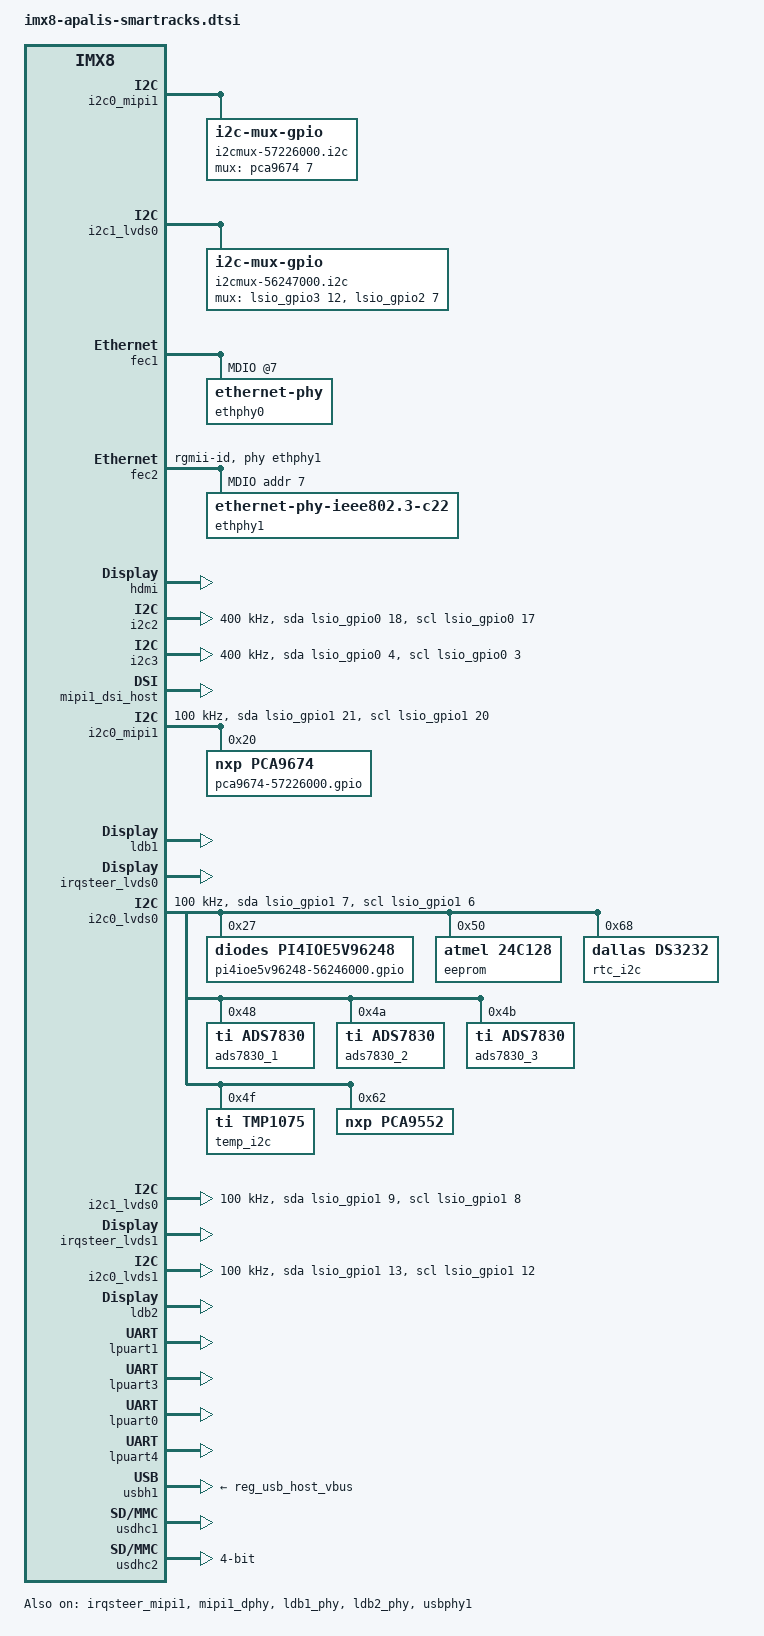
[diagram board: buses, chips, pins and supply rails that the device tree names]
#include <dt-bindings/pwm/pwm.h>
#include <dt-bindings/leds/leds-pca955x.h>

/ {
    aliases {
        rtc0 = &rtc_i2c;
        rtc1 = &rtc;
    };

    reg_usb_host_vbus: regulator-usb-host-vbus {
        regulator-name = "VCC USBH2(ABCD) / USBH(3|4)";
    };

    /* I2C Analog Mux attached to RCU's I2C3 */
    /* PEP I/O Expander IO7 (IOXPD2_IO0_7) occupied by mux driver */
    i2cmux-57226000.i2c {
        compatible = "i2c-mux-gpio";
        #address-cells = <1>;
        #size-cells = <0>;
        mux-gpios = <&pca9674 7 GPIO_ACTIVE_HIGH>;
        i2c-parent = <&i2c0_mipi1>;

        i2c@0 {
            reg = <0>;
            #address-cells = <1>;
            #size-cells = <0>;
        };
        i2c@1 {
            reg = <1>;
            #address-cells = <1>;
            #size-cells = <0>;
        };
    };

    /* I2C Analog Mux attached to RCU's I2C5 */
    /* MXM3 196 (lsio_gpio3 line 12) and MXM3 198 (lsio_gpio2 line 7) occupied by mux driver */
    i2cmux-56247000.i2c {
        compatible = "i2c-mux-gpio";
        #address-cells = <1>;
        #size-cells = <0>;
        mux-gpios = <&lsio_gpio3 12 GPIO_ACTIVE_HIGH &lsio_gpio2 7 GPIO_ACTIVE_HIGH>;
        i2c-parent = <&i2c1_lvds0>;

        i2c@0 {
            reg = <0>;
            #address-cells = <1>;
            #size-cells = <0>;
        };
        i2c@1 {
            reg = <1>;
            #address-cells = <1>;
            #size-cells = <0>;
        };
        i2c@2 {
            reg = <2>;
            #address-cells = <1>;
            #size-cells = <0>;
        };
        i2c@3 {
            reg = <3>;
            #address-cells = <1>;
            #size-cells = <0>;
        };
    };
};

/* Disable pcie switch to mux pin MXM3 15 for GPIO function. */
&reg_pcie_switch {
    status = "disabled";
};

/* Disable gpio fan to mux pin MXM3 17 for GPIO function. */
&gpio_fan {
    status = "disabled";
};

/* Apalis ADC signals */
/* Disable adc0 to mux pin MXM3 305 for GPIO function. */
&adc0 {
    status = "disabled";
};

/* Disable adc0 to mux pin MXM3 307 for GPIO function. */
&adc1 {
    status = "disabled";
};

/* Apalis audio system sub-node */
&asrc0 {
    status = "disabled";
};

/* Apalis First Gigabit Ethernet */
&fec1 {
    status = "okay";

    mdio {
        ethphy0: ethernet-phy@7 {
            /delete-property/ interrupt-parent;
            /delete-property/ interrupts;
            /delete-property/ reset-assert-us;
            /delete-property/ reset-deassert-us;
            /delete-property/ reset-gpios;
            /delete-property/ reset-names;
        };
    };
};

/* Apalis Second Gigabit Ethernet */
&fec2 {
    status = "okay";
    pinctrl-names = "default";
    pinctrl-0 = <&pinctrl_fec2>;
    fsl,magic-packet;
    fsl,mii-exclusive;
    phy-handle = <&ethphy1>;
    phy-mode = "rgmii-id";

    mdio {
        #address-cells = <1>;
        #size-cells = <0>;

        ethphy1: ethernet-phy@7 {
            compatible = "ethernet-phy-ieee802.3-c22";
            micrel,led-mode = <0>;
            reg = <7>;
            max-speed = <100>;
        };
    };
};

/* Apalis CAN1 */
&flexcan1 {
    status = "disabled";
};

/* Apalis CAN2 */
&flexcan2 {
    status = "disabled";
};

/* Apalis CAN3 (optional) */
&flexcan3 {
    status = "disabled";
};

/* Apalis HDMI1 */
&hdmi {
    status = "okay";
};

/* RCU's I2C1 */
&i2c2 {
    status = "okay";
    pinctrl-names = "default", "gpio";
    pinctrl-1 = <&pinctrl_lpi2c2_gpio>;
    scl-gpios = <&lsio_gpio0 17 GPIO_ACTIVE_HIGH>;
    sda-gpios = <&lsio_gpio0 18 GPIO_ACTIVE_HIGH>;
    clock-frequency = <400000>;
};

/* RCU's I2C2 */
&i2c3 {
    status = "okay";
    pinctrl-names = "default", "gpio";
    pinctrl-1 = <&pinctrl_lpi2c3_gpio>;
    scl-gpios = <&lsio_gpio0 3 GPIO_ACTIVE_HIGH>;
    sda-gpios = <&lsio_gpio0 4 GPIO_ACTIVE_HIGH>;
    clock-frequency = <400000>;
};

/* Parent node to enable i2c0_mipi1 */
&irqsteer_mipi1 {
    status = "okay";
};

/* Parent node to enable i2c0_mipi1 */
&mipi1_dphy {
    status = "okay";
};

/* Parent node to enable i2c0_mipi1 */
&mipi1_dsi_host {
    status = "okay";
};

/* RCU's I2C3 */
&i2c0_mipi1 {
    status = "okay";
    pinctrl-names = "default", "gpio";
    pinctrl-0 = <&pinctrl_i2c0_mipi1>;
    pinctrl-1 = <&pinctrl_i2c0_mipi1_gpio>;
    scl-gpios = <&lsio_gpio1 20 GPIO_ACTIVE_HIGH>;
    sda-gpios = <&lsio_gpio1 21 GPIO_ACTIVE_HIGH>;
    #address-cells = <1>;
    #size-cells = <0>;
    clock-frequency = <100000>;

    /* PCA9674 8-bit IO expander on I2C3 */
    pca9674: gpio@20 {
        compatible = "nxp,pca9674";
        reg = <0x20>;
        gpio-controller;
        #gpio-cells = <2>;
        label = "pca9674-57226000.gpio";
        /* IO0 and IO1 has to be output high by default */
        lines-initial-states = <0x00>;
        gpio-line-names =
            "IOXPD2_IO0_0", "IOXPD2_IO0_1", "IOXPD2_IO0_2", "IOXPD2_IO0_3", "IOXPD2_IO0_4", "IOXPD2_IO0_5", "IOXPD2_IO0_6", "IOXPD2_IO0_7";
    };
};

/* Parent node to enable i2c0_lvds0 & i2c1_lvds0 */
&ldb1_phy {
    status = "okay";
};

/* Parent node to enable i2c0_lvds0 & i2c1_lvds0 */
&ldb1 {
    status = "okay";
};

/* Parent node to enable i2c0_lvds0 & i2c1_lvds0 */
&irqsteer_lvds0 {
    status = "okay";
};

/* RCU's I2C4 */
&i2c0_lvds0 {
    status = "okay";
    pinctrl-names = "default", "gpio";
    pinctrl-0 = <&pinctrl_i2c0_lvds0>;
    pinctrl-1 = <&pinctrl_i2c0_lvds0_gpio>;
    scl-gpios = <&lsio_gpio1 6 GPIO_ACTIVE_HIGH>;
    sda-gpios = <&lsio_gpio1 7 GPIO_ACTIVE_HIGH>;
    #address-cells = <1>;
    #size-cells = <0>;
    clock-frequency = <100000>;

    /* 48-bit IO expander */
    pi4ioe5v: pi4ioe5v@27 {
        compatible = "diodes,pi4ioe5v96248";
        reg = <0x27>;
        gpio-controller;
        #gpio-cells = <2>;
        npgio=<48>;
        label = "pi4ioe5v96248-56246000.gpio";

        /* NOTE: lines-initial-states acts as a bitmask, i.e.                                                                              */
        /* For a pin to be configured as output, the bit within the bitmask should be set to 1.                                            */
        /* Likewise, for a pin to be configured as input or output high, the bit within the bitmask should be set to 0.                    */
        /* IO0_0 is LSB (bit at rightmost corner), and as we move left from LSB, we approach IO5_7 at the 48th bit.                        */
        /* Everything between the 48th bit to MSB (bit at leftmost corner) does not represent anything (since IO expander is 48 bit only). */
        
        /* This property holds two consecutive 32-bit value to represent a 64-bit value. */
        /* In binary, the hex value 0x00000000 00006000 is written as:                   */
        /* 00000000 00000000 00000000 00000000 00000000 00000000 00110000 00000000       */
        /* where bit 1s target IO1_4 and IO1_5 to set them as default output LOW         */
        lines-initial-states = <0x00000000 0x00003000>;
        
        gpio-line-names =
            "IOXPD1_IO0_0", "IOXPD1_IO0_1", "IOXPD1_IO0_2", "IOXPD1_IO0_3", "IOXPD1_IO0_4", "IOXPD1_IO0_5", "IOXPD1_IO0_6", "IOXPD1_IO0_7",
            "IOXPD1_IO1_0", "IOXPD1_IO1_1", "IOXPD1_IO1_2", "IOXPD1_IO1_3", "IOXPD1_IO1_4", "IOXPD1_IO1_5", "IOXPD1_IO1_6", "IOXPD1_IO1_7",
            "IOXPD1_IO2_0", "IOXPD1_IO2_1", "IOXPD1_IO2_2", "IOXPD1_IO2_3", "IOXPD1_IO2_4", "IOXPD1_IO2_5", "IOXPD1_IO2_6", "IOXPD1_IO2_7",
            "IOXPD1_IO3_0", "IOXPD1_IO3_1", "IOXPD1_IO3_2", "IOXPD1_IO3_3", "IOXPD1_IO3_4", "IOXPD1_IO3_5", "IOXPD1_IO3_6", "IOXPD1_IO3_7",
            "IOXPD1_IO4_0", "IOXPD1_IO4_1", "IOXPD1_IO4_2", "IOXPD1_IO4_3", "IOXPD1_IO4_4", "IOXPD1_IO4_5", "IOXPD1_IO4_6", "IOXPD1_IO4_7",
            "IOXPD1_IO5_0", "IOXPD1_IO5_1", "IOXPD1_IO5_2", "IOXPD1_IO5_3", "IOXPD1_IO5_4", "IOXPD1_IO5_5", "IOXPD1_IO5_6", "IOXPD1_IO5_7";
    };

    /* RCU carrier CAT24C128 EEPROM */
    eeprom: eeprom@50 { 
        compatible = "atmel,24c128"; 
        reg = <0x50>;
    }; 

    rtc_i2c: rtc@68 {
        compatible = "dallas,ds3232";
        reg = <0x68>;
    };
    
    /* Onboard ADC ADS7830 at 0x48 */
    ads7830_1: ads@48 {
        compatible = "ti,ads7830";
        reg = <0x48>;
    };

    /* Onboard ADC ADS7830 at 0x4a */
    ads7830_2: ads@4a {
        compatible = "ti,ads7830";
        reg = <0x4a>;
    };

    /* Onboard ADC ADS7830 at 0x4b */
    ads7830_3: ads@4b {
        compatible = "ti,ads7830";
        reg = <0x4b>;
    };

    /* Onboard Temperature Sensor TMP1075 */
    temp_i2c: temp@4F {
        compatible = "ti,tmp1075";
        reg = <0x4F>;
        status = "okay";
    };

    /* 16-bit LED driver */
    pca9552: pca9552@62 {
        compatible = "nxp,pca9552";
        #address-cells = <1>;
        #size-cells = <0>;
        reg = <0x62>;

        led@0 {
            reg = <0>;
            type = <PCA955X_TYPE_LED>;
        };
        led@1 {
            reg = <1>;
            type = <PCA955X_TYPE_LED>;
        };
        led@2 {
            reg = <2>;
            type = <PCA955X_TYPE_LED>;
        };
        led@3 {
            reg = <3>;
            type = <PCA955X_TYPE_LED>;
        };
        led@4 {
            reg = <4>;
            type = <PCA955X_TYPE_LED>;
        };
        led@5 {
            reg = <5>;
            type = <PCA955X_TYPE_LED>;
        };
        led@6 {
            reg = <6>;
            type = <PCA955X_TYPE_LED>;
        };
        led@7 {
            reg = <7>;
            type = <PCA955X_TYPE_LED>;
        };
        led@8 {
            reg = <8>;
            type = <PCA955X_TYPE_LED>;
        };
        led@9 {
            reg = <9>;
            type = <PCA955X_TYPE_LED>;
        };
        led@10 {
            reg = <10>;
            type = <PCA955X_TYPE_LED>;
        };
        led@11 {
            reg = <11>;
            type = <PCA955X_TYPE_LED>;
        };
        led@12 {
            reg = <12>;
            type = <PCA955X_TYPE_LED>;
        };
        led@13 {
            reg = <13>;
            type = <PCA955X_TYPE_LED>;
        };
        led@14 {
            reg = <14>;
            type = <PCA955X_TYPE_LED>;
        };
        led@15 {
            reg = <15>;
            type = <PCA955X_TYPE_LED>;
        };
    };
};

/* RCU's I2C5 */
&i2c1_lvds0 {
    status = "okay";
    pinctrl-names = "default", "gpio";
    pinctrl-0 = <&pinctrl_i2c1_lvds0>;
    pinctrl-1 = <&pinctrl_i2c1_lvds0_gpio>;
    scl-gpios = <&lsio_gpio1 8 GPIO_ACTIVE_HIGH>;
    sda-gpios = <&lsio_gpio1 9 GPIO_ACTIVE_HIGH>;
    #address-cells = <1>;
    #size-cells = <0>;
    clock-frequency = <100000>;
};

/* Parent node to enable i2c0_lvds1 */
&irqsteer_lvds1 {
    status = "okay";
};

/* RCU's I2C6 */
&i2c0_lvds1 {
    status = "okay";
    pinctrl-names = "default", "gpio";
    pinctrl-0 = <&pinctrl_i2c0_lvds1>;
    pinctrl-1 = <&pinctrl_i2c0_lvds1_gpio>;
    scl-gpios = <&lsio_gpio1 12 GPIO_ACTIVE_HIGH>;
    sda-gpios = <&lsio_gpio1 13 GPIO_ACTIVE_HIGH>;
    #address-cells = <1>;
    #size-cells = <0>;
    clock-frequency = <100000>;
};

&iomuxc {
    pinctrl-names = "default";
    pinctrl-0 = <&pinctrl_rcugpio>, <&pinctrl_reset_moci>,
            <&pinctrl_gpio_usbh_oc_n>;

    pinctrl_rcugpio: rcugpiogrp {
        fsl,pins = <
            /* Bits 5:6 controls the PULL settings of GPIO on the iMX8:        */
            /* 0b00 - prohibited                                               */
            /* 0b01 - pull-up                                                  */
            /* 0b10 - pull-down                                                */
            /* 0b11 - pull disabled                                            */
            /* Turn off all internal pull registers because all GPIOs have     */
            /* external pull up/down registers.

            /* Pin name and muxed function              Pin config             */
            IMX8QM_FLEXCAN2_RX_LSIO_GPIO4_IO01          0x06000061 /* MXM3 11  */
            IMX8QM_M40_I2C0_SCL_LSIO_GPIO0_IO06         0x06000061 /* MXM3 110 */
            IMX8QM_UART1_RTS_B_LSIO_GPIO0_IO26          0x06000061 /* MXM3 114 */
            IMX8QM_UART1_CTS_B_LSIO_GPIO0_IO27          0x06000061 /* MXM3 116 */
            IMX8QM_FLEXCAN0_RX_LSIO_GPIO3_IO29          0x06000061 /* MXM3 12  */
            IMX8QM_M40_I2C0_SDA_LSIO_GPIO0_IO07         0x06000061 /* MXM3 120 */
            IMX8QM_M41_I2C0_SDA_LSIO_GPIO0_IO11         0x06000061 /* MXM3 122 */
            IMX8QM_MIPI_DSI1_GPIO0_00_LSIO_GPIO1_IO22   0x06000061 /* MXM3 123 */
            IMX8QM_M41_I2C0_SCL_LSIO_GPIO0_IO10         0x06000061 /* MXM3 124 */
            IMX8QM_FLEXCAN2_TX_LSIO_GPIO4_IO02          0x06000061 /* MXM3 13  */
            IMX8QM_SIM0_IO_LSIO_GPIO0_IO02              0x06000061 /* MXM3 135 */
            IMX8QM_FLEXCAN0_TX_LSIO_GPIO3_IO30          0x06000061 /* MXM3 14  */
            IMX8QM_USDHC1_DATA4_LSIO_GPIO5_IO19         0x06000061 /* MXM3 148 */
            IMX8QM_MLB_SIG_LSIO_GPIO3_IO26              0x06000061 /* MXM3 15  */
            IMX8QM_USDHC1_DATA5_LSIO_GPIO5_IO20         0x06000061 /* MXM3 152 */
            IMX8QM_USDHC1_DATA6_LSIO_GPIO5_IO21         0x06000061 /* MXM3 156 */
            IMX8QM_USDHC1_DATA7_LSIO_GPIO5_IO22         0x06000021 /* MXM3 158 - Pull up enabled to get a clean 1.8V signal */
            IMX8QM_FLEXCAN1_RX_LSIO_GPIO3_IO31          0x06000061 /* MXM3 16  */
            IMX8QM_MLB_DATA_LSIO_GPIO3_IO28             0x06000061 /* MXM3 17  */
            IMX8QM_ESAI0_TX0_LSIO_GPIO2_IO26            0x06000061 /* MXM3 177 */
            IMX8QM_ESAI0_TX1_LSIO_GPIO2_IO27            0x06000061 /* MXM3 179 */
            IMX8QM_FLEXCAN1_TX_LSIO_GPIO4_IO00          0x06000061 /* MXM3 18  */
            IMX8QM_ESAI0_TX2_RX3_LSIO_GPIO2_IO28        0x06000061 /* MXM3 181 */
            IMX8QM_ESAI0_TX3_RX2_LSIO_GPIO2_IO29        0x06000061 /* MXM3 183 */
            IMX8QM_ESAI0_TX4_RX1_LSIO_GPIO2_IO30        0x06000061 /* MXM3 185 */
            IMX8QM_ESAI0_TX5_RX0_LSIO_GPIO2_IO31        0x06000061 /* MXM3 187 */
            IMX8QM_MCLK_IN0_LSIO_GPIO3_IO00             0x06000061 /* MXM3 191 */
            IMX8QM_SPI3_SDO_LSIO_GPIO2_IO18             0x06000061 /* MXM3 193 */
            IMX8QM_SPI3_SDI_LSIO_GPIO2_IO19             0x06000061 /* MXM3 194 */
            IMX8QM_ESAI0_SCKR_LSIO_GPIO2_IO24           0x06000061 /* MXM3 195 */
            IMX8QM_SAI1_RXC_LSIO_GPIO3_IO12             0x06000061 /* MXM3 196 */
            IMX8QM_ESAI0_SCKT_LSIO_GPIO2_IO25           0x06000061 /* MXM3 197 */
            IMX8QM_ESAI1_SCKT_LSIO_GPIO2_IO07           0x06000061 /* MXM3 198 */
            IMX8QM_GPT1_COMPARE_LSIO_GPIO0_IO19         0x06000061 /* MXM3 2   */
            IMX8QM_SPI0_CS1_LSIO_GPIO3_IO06             0x06000061 /* MXM3 200 */
            IMX8QM_SAI1_RXFS_LSIO_GPIO3_IO14            0x06000061 /* MXM3 202 */
            IMX8QM_SPI2_CS1_LSIO_GPIO3_IO11             0x06000061 /* MXM3 204 */
            IMX8QM_SPDIF0_TX_LSIO_GPIO2_IO15            0x06000061 /* MXM3 215 */
            IMX8QM_SPDIF0_RX_LSIO_GPIO2_IO14            0x06000061 /* MXM3 217 */
            IMX8QM_SPI0_SCK_LSIO_GPIO3_IO02             0x06000061 /* MXM3 221 */
            IMX8QM_SPI0_SDI_LSIO_GPIO3_IO04             0x06000061 /* MXM3 223 */
            IMX8QM_SPI0_SDO_LSIO_GPIO3_IO03             0x06000061 /* MXM3 225 */
            IMX8QM_SPI0_CS0_LSIO_GPIO3_IO05             0x06000061 /* MXM3 227 */
            IMX8QM_SPI2_SDI_LSIO_GPIO3_IO09             0x06000061 /* MXM3 229 */
            IMX8QM_SPI2_SDO_LSIO_GPIO3_IO08             0x06000061 /* MXM3 231 */
            IMX8QM_SPI2_CS0_LSIO_GPIO3_IO10             0x06000061 /* MXM3 233 */
            IMX8QM_SPI2_SCK_LSIO_GPIO3_IO07             0x06000061 /* MXM3 235 */
            IMX8QM_USB_SS3_TC2_LSIO_GPIO4_IO05          0x06000061 /* MXM3 262 */
            IMX8QM_ESAI0_FSR_LSIO_GPIO2_IO22            0x06000061 /* MXM3 271 */
            IMX8QM_ESAI0_FST_LSIO_GPIO2_IO23            0x06000061 /* MXM3 273 */
            IMX8QM_USB_SS3_TC0_LSIO_GPIO4_IO03          0x06000061 /* MXM3 274 */
            IMX8QM_SIM0_GPIO0_00_LSIO_GPIO0_IO05        0x06000061 /* MXM3 275 */
            IMX8QM_SIM0_RST_LSIO_GPIO0_IO01             0x06000061 /* MXM3 277 */
            IMX8QM_SIM0_CLK_LSIO_GPIO0_IO00             0x06000061 /* MXM3 279 */
            IMX8QM_QSPI1A_DATA0_LSIO_GPIO4_IO26         0x06000061 /* MXM3 287 */
            IMX8QM_QSPI1A_DATA1_LSIO_GPIO4_IO25         0x06000061 /* MXM3 289 */
            IMX8QM_QSPI1A_DATA2_LSIO_GPIO4_IO24         0x06000061 /* MXM3 291 */
            IMX8QM_QSPI1A_DATA3_LSIO_GPIO4_IO23         0x06000061 /* MXM3 293 */
            IMX8QM_QSPI1A_SS0_B_LSIO_GPIO4_IO19         0x06000061 /* MXM3 295 */
            IMX8QM_QSPI1A_DQS_LSIO_GPIO4_IO22           0x06000061 /* MXM3 297 */
            IMX8QM_QSPI1A_SS1_B_LSIO_GPIO4_IO20         0x06000061 /* MXM3 299 */
            IMX8QM_QSPI1A_SCLK_LSIO_GPIO4_IO21          0x06000061 /* MXM3 301 */
            IMX8QM_ADC_IN0_LSIO_GPIO3_IO18              0x06000061 /* MXM3 305 */
            IMX8QM_ADC_IN1_LSIO_GPIO3_IO19              0x06000061 /* MXM3 307 */
            IMX8QM_ADC_IN2_LSIO_GPIO3_IO20              0x06000061 /* MXM3 309 */
            IMX8QM_ADC_IN3_LSIO_GPIO3_IO21              0x06000061 /* MXM3 311 */
            IMX8QM_ADC_IN4_LSIO_GPIO3_IO22              0x06000061 /* MXM3 315 */
            IMX8QM_ADC_IN5_LSIO_GPIO3_IO23              0x06000061 /* MXM3 317 */
            IMX8QM_ADC_IN6_LSIO_GPIO3_IO24              0x06000061 /* MXM3 319 */
            IMX8QM_ADC_IN7_LSIO_GPIO3_IO25              0x06000061 /* MXM3 321 */
            IMX8QM_ESAI1_TX0_LSIO_GPIO2_IO08            0x06000061 /* MXM3 35  */
            IMX8QM_SPI3_CS0_LSIO_GPIO2_IO20             0x06000061 /* MXM3 37  */
            IMX8QM_GPT0_COMPARE_LSIO_GPIO0_IO16         0x06000061 /* MXM3 4   */
            IMX8QM_M41_GPIO0_00_LSIO_GPIO0_IO12         0x06000061 /* MXM3 5   */
            IMX8QM_UART0_RTS_B_LSIO_GPIO0_IO22          0x06000061 /* MXM3 6   */
            IMX8QM_MLB_CLK_LSIO_GPIO3_IO27              0x06000061 /* MXM3 63  */
            IMX8QM_M41_GPIO0_01_LSIO_GPIO0_IO13         0x06000061 /* MXM3 7   */
            IMX8QM_UART0_CTS_B_LSIO_GPIO0_IO23          0x06000061 /* MXM3 8   */
        >;
    };

    pinctrl_fec2: fec2grp {
        fsl,pins = <
            IMX8QM_ENET1_MDC_CONN_ENET1_MDC                     0x06000020 /* MXM3 253 */
            IMX8QM_ENET1_MDIO_CONN_ENET1_MDIO                   0x06000020 /* MXM3 251 */
            IMX8QM_ENET1_REFCLK_125M_25M_CONN_ENET1_PPS         0x06000020 /* MXM3 269 */
            IMX8QM_ENET1_RGMII_RX_CTL_CONN_ENET1_RGMII_RX_CTL   0x06000020 /* MXM3 265 */
            IMX8QM_ENET1_RGMII_RXC_CONN_ENET1_RGMII_RXC         0x06000020 /* MXM3 130 */
            IMX8QM_ENET1_RGMII_RXD0_CONN_ENET1_RGMII_RXD0       0x06000020 /* MXM3 249 */
            IMX8QM_ENET1_RGMII_RXD1_CONN_ENET1_RGMII_RXD1       0x06000020 /* MXM3 247 */
            IMX8QM_ENET1_RGMII_RXD2_CONN_ENET1_RGMII_RXD2       0x06000020 /* MXM3 245 */
            IMX8QM_ENET1_RGMII_RXD3_CONN_ENET1_RGMII_RXD3       0x06000020 /* MXM3 243 */
            IMX8QM_ENET1_RGMII_TX_CTL_CONN_ENET1_RGMII_TX_CTL   0x06000020 /* MXM3 263 */
            IMX8QM_ENET1_RGMII_TXC_CONN_ENET1_RGMII_TXC         0x06000020 /* MXM3 261 */
            IMX8QM_ENET1_RGMII_TXD0_CONN_ENET1_RGMII_TXD0       0x06000020 /* MXM3 259 */
            IMX8QM_ENET1_RGMII_TXD1_CONN_ENET1_RGMII_TXD1       0x06000020 /* MXM3 257 */
            IMX8QM_ENET1_RGMII_TXD2_CONN_ENET1_RGMII_TXD2       0x06000020 /* MXM3 255 */
            IMX8QM_ENET1_RGMII_TXD3_CONN_ENET1_RGMII_TXD3       0x06000020 /* MXM3 128 */
        >;
    };

    /* RCU's I2C1 GPIO pin config */
    pinctrl_lpi2c2_gpio: lpi2c2gpiogrp {
        fsl,pins = <
            IMX8QM_GPT1_CLK_LSIO_GPIO0_IO17        0x04000020 /* MXM3 211 */
            IMX8QM_GPT1_CAPTURE_LSIO_GPIO0_IO18    0x04000020 /* MXM3 209 */
        >;
    };

    /* RCU's I2C2 GPIO pin config */
    pinctrl_lpi2c3_gpio: lpi2c3gpiogrp {
        fsl,pins = <
            IMX8QM_SIM0_PD_LSIO_GPIO0_IO03          0x04000020 /* MXM3 203 */
            IMX8QM_SIM0_POWER_EN_LSIO_GPIO0_IO04    0x04000020 /* MXM3 201 */
        >;
    };

    /* RCU's I2C3 */
    pinctrl_i2c0_mipi1: mipi1i2c0grp {
        fsl,pins = <
            IMX8QM_MIPI_DSI1_I2C0_SCL_MIPI_DSI1_I2C0_SCL    0x04000020 /* MXM3 173 */
            IMX8QM_MIPI_DSI1_I2C0_SDA_MIPI_DSI1_I2C0_SDA    0x04000020 /* MXM3 175 */
        >;
    };

    /* RCU's I2C3 GPIO pin config */
    pinctrl_i2c0_mipi1_gpio: mipi1i2c0gpiogrp {
        fsl,pins = <
            IMX8QM_MIPI_DSI1_I2C0_SCL_LSIO_GPIO1_IO20    0x04000020 /* MXM3 173 */
            IMX8QM_MIPI_DSI1_I2C0_SDA_LSIO_GPIO1_IO21    0x04000020 /* MXM3 175 */
        >;
    };

    /* RCU's I2C4 */
    pinctrl_i2c0_lvds0: lvds0i2c0grp {
        fsl,pins = <
            IMX8QM_LVDS0_I2C0_SCL_LVDS0_I2C0_SCL    0x04000020 /* MXM3 87  */
            IMX8QM_LVDS0_I2C0_SDA_LVDS0_I2C0_SDA    0x04000020 /* MXM3 99  */
        >;
    };

    /* RCU's I2C4 GPIO pin config */
    pinctrl_i2c0_lvds0_gpio: lvds0i2c0gpiogrp {
        fsl,pins = <
            IMX8QM_LVDS0_I2C0_SCL_LSIO_GPIO1_IO06    0x04000020 /* MXM3 87  */
            IMX8QM_LVDS0_I2C0_SDA_LSIO_GPIO1_IO07    0x04000020 /* MXM3 99  */
        >;
    };

    /* RCU's I2C5 */
    pinctrl_i2c1_lvds0: lvds0i2c1grp {
        fsl,pins = <
            IMX8QM_LVDS0_I2C1_SCL_LVDS0_I2C1_SCL    0x04000020 /* MXM3 138 */
            IMX8QM_LVDS0_I2C1_SDA_LVDS0_I2C1_SDA    0x04000020 /* MXM3 140 */
        >;
    };

    /* RCU's I2C5 GPIO pin config */
    pinctrl_i2c1_lvds0_gpio: lvds0i2c1gpiogrp {
        fsl,pins = <
            IMX8QM_LVDS0_I2C1_SCL_LSIO_GPIO1_IO08    0x04000020 /* MXM3 138 */
            IMX8QM_LVDS0_I2C1_SDA_LSIO_GPIO1_IO09    0x04000020 /* MXM3 140 */
        >;
    };

    /* RCU's I2C6 */
    pinctrl_i2c0_lvds1: lvds1i2c0grp {
        fsl,pins = <
            IMX8QM_LVDS1_I2C0_SCL_LVDS1_I2C0_SCL    0x04000020 /* MXM3 281 */
            IMX8QM_LVDS1_I2C0_SDA_LVDS1_I2C0_SDA    0x04000020 /* MXM3 283 */
        >;
    };

    /* RCU's I2C6 GPIO pin config */
    pinctrl_i2c0_lvds1_gpio: lvds1i2c0gpiogrp {
        fsl,pins = <
            IMX8QM_LVDS1_I2C0_SCL_LSIO_GPIO1_IO12    0x04000020 /* MXM3 281 */
            IMX8QM_LVDS1_I2C0_SDA_LSIO_GPIO1_IO13    0x04000020 /* MXM3 283 */
        >;
    };

    /* Apalis BKL1_ON */
    pinctrl_bkl_on: bkl-on {
        fsl,pins = <
            IMX8QM_LVDS0_GPIO00_LVDS0_GPIO0_IO00    0x00000021 /* MXM3 286 */
        >;
    };

    /* RCU UART1 */
    pinctrl_lpuart1: lpuart1grp {
        fsl,pins = <
            IMX8QM_UART1_RX_DMA_UART1_RX            0x06000020 /* MXM3 118 */
            IMX8QM_UART1_TX_DMA_UART1_TX            0x06000020 /* MXM3 112 */
        >;
    };

    /* RCU UART2 */
    pinctrl_lpuart3: lpuart3grp {
        fsl,pins = <
            IMX8QM_LVDS1_I2C1_SCL_DMA_UART3_TX      0x06000020 /* MXM3 132 */
            IMX8QM_LVDS1_I2C1_SDA_DMA_UART3_RX      0x06000020 /* MXM3 126 */
        >;
    };

    /* RCU UART4 */
    pinctrl_lpuart4: lpuart4grp {
        fsl,pins = <
            IMX8QM_M40_GPIO0_00_DMA_UART4_RX        0x06000020 /* MXM3 1 */
            IMX8QM_M40_GPIO0_01_DMA_UART4_TX        0x06000020 /* MXM3 3 */
        >;
    };
};

/* RCU LVDS channel 1 and 2 phy node */
&ldb2_phy {
    status = "okay";
};

/* RCU LVDS channel 1 and 2 parent node */
&ldb2 {
    status = "okay";
};

/* Apalis SPI1 */
&lpspi0 {
    status = "disabled";
};

/* Apalis SPI2 */
&lpspi2 {
    status = "disabled";
};

/* RCU UART1 */
&lpuart1 {
    status = "okay";
    pinctrl-0 = <&pinctrl_lpuart1>;
};

/* RCU UART2 */
&lpuart3 {
    status = "okay";
    pinctrl-0 = <&pinctrl_lpuart3>;
};

/* RCU UART3 */
&lpuart0 {
    status = "okay";
};

/* RCU UART4 */
&lpuart4 {
    status = "okay";
    pinctrl-names = "default";
    pinctrl-0 = <&pinctrl_lpuart4>;
};

/* Apalis PCIE1 */
&pciea {
    status = "disabled";
};

/* On-module Wi-Fi */
&pcieb {
    status = "disabled";
};

/* Apalis PWM3, MXM3 pin 6 */
&lsio_pwm0 {
    status = "disabled";
};

/* Apalis PWM4, MXM3 pin 8 */
&lsio_pwm1 {
    status = "disabled";
};

/* Apalis PWM1, MXM3 pin 2 */
&lsio_pwm2 {
    status = "disabled";
};

/* Apalis PWM2, MXM3 pin 4 */
&lsio_pwm3 {
    status = "disabled";
};

/* Apalis audio system sub-node */
&sai1 {
    status = "disabled";
};

/* Apalis SATA1 */
&sata {
    status = "disabled";
};

/* Apalis SPDIF1 */
&spdif0 {
    status = "disabled";
};

/* usbphy signal for usbotg3 which is not used in RCU. */
&usb3_phy {
    status = "disabled";
};

/* Apalis USBH2, Apalis USBH3 and on-module Wi-Fi via on-module HSIC Hub */
&usbh1 {
    status = "okay";
    vbus-supply = <&reg_usb_host_vbus>;
    fsl,usbphy = <&usbphy1>;
};

/* Original usbphy signal for USBH1. */
&usbphynop2 {
    status = "disabled";
};

/* Original usbphy signal for USBOTG1 (disabled), reassigned to USBH1 */
&usbphy1 {
    status = "okay";
};

/* Apalis USBO1 */
&usbotg1 {
    status = "disabled";
};

/* On-module eMMC */
&usdhc1 {
    status = "okay";
};

/* RCU's SD1 */
/* RCU uses Apalis' MMC1 as its SD1, hence the bus-width is reduced to 4 */
/* Delete 'no-1-8-v' property to enable UHS-I speed for SD card          */
/* Redefine pinctrl groups to avoid using 8bit pingroups containing GPIO */
&usdhc2 {
    bus-width = <4>;
    pinctrl-0 = <&pinctrl_usdhc2_4bit>,
                <&pinctrl_mmc1_cd>;
    pinctrl-1 = <&pinctrl_usdhc2_4bit_100mhz>,
                <&pinctrl_mmc1_cd>;
    pinctrl-2 = <&pinctrl_usdhc2_4bit_200mhz>,
                <&pinctrl_mmc1_cd>;
    pinctrl-3 = <&pinctrl_usdhc2_4bit_sleep>,
                <&pinctrl_mmc1_cd_sleep>;
    status = "okay";
    /delete-property/ no-1-8-v;
};

/* Apalis SD1 */
&usdhc3 {
    status = "disabled";
};
